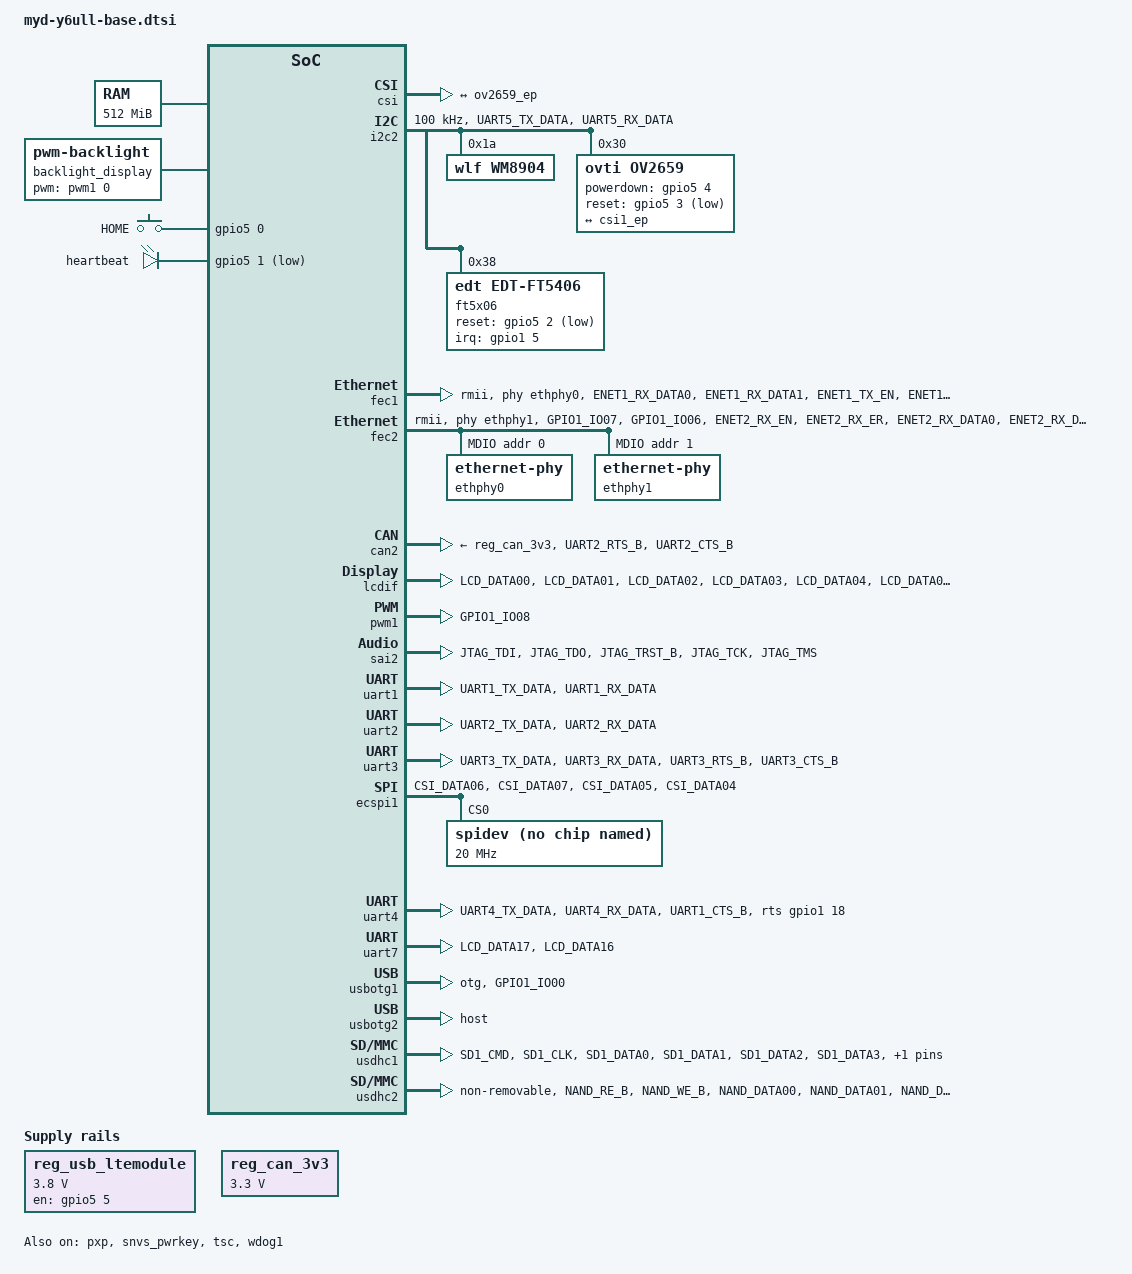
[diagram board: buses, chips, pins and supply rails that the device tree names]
// SPDX-License-Identifier: GPL-2.0
//
// MYiR MYD-Y6ULX board support (local copy for myir/myd-y6ull/)
//

#include <dt-bindings/gpio/gpio.h>
#include <dt-bindings/interrupt-controller/irq.h>
#include <dt-bindings/input/input.h>
#include "imx6ul-pinfunc.h"
#include "imx6ull-pinfunc.h"
#include "imx6ull-pinfunc-snvs.h"
/ {
	chosen {
		stdout-path = &uart1;
	};
	memory@80000000 {
		device_type = "memory";
		reg = <0x80000000 0x20000000>;
	};

	reserved-memory {
		#address-cells = <1>;
		#size-cells = <1>;
		ranges;

		linux,cma {
			compatible = "shared-dma-pool";
			reusable;
			size = <0xa000000>;
			linux,cma-default;
		};
	};
	usdhc2_pwrseq: usdhc2-pwrseq {
		compatible = "mmc-pwrseq-simple";
	};
	backlight_display: backlight-display {
		compatible = "pwm-backlight";
		pwms = <&pwm1 0 5000000 0>;
		brightness-levels = <0 4 8 16 32 64 128 255>;
		default-brightness-level = <6>;
		status = "okay";
	};
        pxp_v4l2 {
               compatible = "fsl,imx6ul-pxp-v4l2", "fsl,imx6sx-pxp-v4l2", "fsl,imx6sl-pxp-v4l2";
               status = "okay";
       };
	reg_usb_ltemodule: regulator-ltemodule {
		compatible = "regulator-fixed";
		regulator-name = "ltemodule-pwr";
		regulator-min-microvolt = <3800000>;
		regulator-max-microvolt = <3800000>;
		gpio = <&gpio5 5 GPIO_ACTIVE_HIGH>;
		enable-active-high;
		regulator-boot-on;
		regulator-always-on;
	};
	reg_can_3v3: regulator-can-3v3 {
		compatible = "regulator-fixed";
		regulator-name = "can-3v3";
		regulator-min-microvolt = <3300000>;
		regulator-max-microvolt = <3300000>;
		regulator-always-on;
	};
	gpio-keys {
		compatible = "gpio-keys";

		key-home {
			label = "HOME";
			gpios = <&gpio5 0 GPIO_ACTIVE_HIGH>;
			linux,code = <KEY_HOME>;
			gpio-key,wakeup;
		};
	};
	gpio-leds {
		compatible = "gpio-leds";

		heartbeat {
			label = "heartbeat";
			gpios = <&gpio5 1 GPIO_ACTIVE_LOW>;
			linux,default-trigger = "heartbeat";
			default-state = "off";
		};
	};
       sound-wm8904 {
               compatible = "fsl,imx-audio-wm8904";
               model = "wm8904-audio";
               audio-cpu = <&sai2>;
               audio-asrc = <&asrc>;
               audio-codec = <&wm8904>;
               audio-routing =
                       "Headphone Jack", "HPOUTL",
                       "Headphone Jack", "HPOUTR",
                       "IN2L", "Line In Jack",
                       "IN2R", "Line In Jack",
                       "AMIC", "MICBIAS",
                       "IN2L", "AMIC";
       };
};
&clks {
	assigned-clocks = <&clks IMX6UL_CLK_PLL4_AUDIO_DIV>;
	assigned-clock-rates = <786432000>;
};
&csi {
	status = "okay";

	port {
        	csi1_ep: endpoint {
            	remote-endpoint = <&ov2659_ep>;
        };
    };
};

&i2c2 {
	clock-frequency = <100000>;
	pinctrl-names = "default";
	pinctrl-0 = <&pinctrl_i2c2>;
	status = "okay";
       wm8904: codec@1a {

               compatible = "wlf,wm8904";
               reg = <0x1a>;
               clocks = <&clks IMX6UL_CLK_SAI2>;
               clock-names = "mclk";
       };
       ov2659: ov2659@30 {
               compatible = "ovti,ov2659";
               reg = <0x30>;
               pinctrl-names = "default";
               pinctrl-0 = <&pinctrl_csi1>;
               clocks = <&clks IMX6UL_CLK_CSI>;
               clock-names = "xvclk";
               powerdown-gpios = <&gpio5 4 GPIO_ACTIVE_HIGH>;
               reset-gpios = <&gpio5 3 GPIO_ACTIVE_LOW>;
               status = "okay";
               port {
                       ov2659_ep: endpoint {
                               remote-endpoint = <&csi1_ep>;
                               link-frequencies = /bits/ 64 <70000000>;
                       };
               };
       };

	ft5x06: ft5x06@38 {
		compatible = "edt,edt-ft5406", "edt,edt-ft5x06";
		reg = <0x38>;
		pinctrl-names = "default";                                                                                          
		pinctrl-0 = <&edt_ft5x06_pins>;    
		interrupt-parent = <&gpio1>;
		interrupts = <5 IRQ_TYPE_EDGE_FALLING>;
		reset-gpios = <&gpio5 2 GPIO_ACTIVE_LOW>;
		touchscreen-size-x = <800>;
		touchscreen-size-y = <480>;
	};
 
};
&fec1 {
	pinctrl-names = "default";
	pinctrl-0 = <&pinctrl_enet1>;
	phy-mode = "rmii";
	phy-handle = <&ethphy0>;
	phy-reset-gpios = <&gpio5 9 GPIO_ACTIVE_LOW>;
	phy-reset-duration = <26>;
	phy-reset-post-delay = <20>;
	status = "okay";
};
&fec2 {
	pinctrl-names = "default";
	pinctrl-0 = <&pinctrl_enet2>;
	phy-mode = "rmii";
	phy-handle = <&ethphy1>;
	phy-reset-gpios = <&gpio5 6 GPIO_ACTIVE_LOW>;
	phy-reset-duration = <26>;
	phy-reset-post-delay = <20>;
	status = "okay";

	mdio {
		#address-cells = <1>;
		#size-cells = <0>;

		ethphy0: ethernet-phy@0 {
			reg = <0>;
			micrel,led-mode = <1>;
		};

		ethphy1: ethernet-phy@1 {
			reg = <1>;
			micrel,led-mode = <1>;
		};
	};
};
&can2 {
	pinctrl-names = "default";
	pinctrl-0 = <&pinctrl_flexcan2>;
	xceiver-supply = <&reg_can_3v3>;
	status = "okay";
};
&lcdif {
	assigned-clocks = <&clks IMX6UL_CLK_LCDIF_PRE_SEL>;
	assigned-clock-parents = <&clks IMX6UL_CLK_PLL5_VIDEO_DIV>;
	pinctrl-names = "default";
	pinctrl-0 = <&pinctrl_lcdif_dat &pinctrl_lcdif_ctrl>;
	status = "okay";
	
	display = <&display0>;
	status = "okay";

	display0: display@0 {
		bits-per-pixel = <16>;
		bus-width = <16>;

		display-timings {
			native-mode = <&timing1>;


			/*4.3-inch*/
			timing0: timing0 {
				clock-frequency = <9200000>;
				hactive = <480>;
				vactive = <272>;
				hfront-porch = <8>;
				hback-porch = <4>;
				hsync-len = <41>;
				vback-porch = <2>;
				vfront-porch = <4>;
				vsync-len = <10>;
				hsync-active = <0>;
				vsync-active = <0>;
				de-active = <1>;
				pixelclk-active = <0>;
			};

			/*7.0-inch*/
			timing1: timing1 {
				clock-frequency = <33000000>;
				hactive = <800>;
				vactive = <480>;
				hfront-porch = <210>;
				hback-porch = <46>;
				hsync-len = <1>;
				vback-porch = <22>;
				vfront-porch = <23>;
				vsync-len = <20>;
		
				hsync-active = <0>;
				vsync-active = <0>;
				de-active = <1>;
				pixelclk-active = <0>;
		};

		};
	};
	
	
};
&pwm1 {
	pinctrl-names = "default";
	pinctrl-0 = <&pinctrl_pwm1>;
	status = "okay";
};
&pxp {
	status = "okay";
};

&sai2 {
       pinctrl-names = "default";
       pinctrl-0 = <&pinctrl_sai2>;
       assigned-clocks = <&clks IMX6UL_CLK_SAI2_SEL>,<&clks IMX6UL_CLK_SAI2>;
       assigned-clock-parents = <&clks IMX6UL_CLK_PLL4_AUDIO_DIV>;
       assigned-clock-rates = <0>, <12288000>;
       fsl,sai-mclk-direction-output;
       status = "okay";
};
&snvs_poweroff {
	status = "okay";
};

&snvs_pwrkey {
	status = "okay";
};
&tsc {
	status = "okay";
};
&uart1 {
	pinctrl-names = "default";
	pinctrl-0 = <&pinctrl_uart1>;
	status = "okay";
};
&uart2 {
	pinctrl-names = "default";
	pinctrl-0 = <&pinctrl_uart2>;
	uart-has-rtscts;
	status = "okay";
};
&uart3 {
	pinctrl-names = "default";
	pinctrl-0 = <&pinctrl_uart3>;
	status = "okay";
};
&ecspi1 {
	pinctrl-names = "default";
	pinctrl-0 = <&pinctrl_ecspi1>;
	fsl,spi-num-chipselects = <1>;
	#address-cells = <1>;
	#size-cells = <0>;
	status = "okay";
	spidev@0 {
		compatible = "rohm,dh2228fv";
		reg = <0>;
		spi-max-frequency = <20000000>;
	};
};
&uart4 {
	pinctrl-names = "default";
	pinctrl-0 = <&pinctrl_uart4>;
	rts-gpios = <&gpio1 18 GPIO_ACTIVE_HIGH>;
	status = "okay";
};
&uart7 {
	pinctrl-names = "default";
	pinctrl-0 = <&pinctrl_uart7>;
	status = "okay";
};
&usbotg1 {
	dr_mode = "otg";
	pinctrl-names = "default";
	pinctrl-0 = <&pinctrl_usb_otg1>;
        srp-disable;
        hnp-disable;
        adp-disable;
	status = "okay";
};
&usbotg2 {
	dr_mode = "host";
	status = "okay";
};
&usbphy2 {
	fsl,tx-d-cal = <5>;
};
&usdhc1 {
	pinctrl-names = "default", "state_100mhz", "state_200mhz";
	pinctrl-0 = <&pinctrl_usdhc1>;
	pinctrl-1 = <&pinctrl_usdhc1_100mhz>;
	pinctrl-2 = <&pinctrl_usdhc1_200mhz>;
	cd-gpios = <&gpio1 19 GPIO_ACTIVE_LOW>;

	keep-power-in-suspend;
	wakeup-source;
	status = "okay";
};
&usdhc2 {
	pinctrl-names = "default";
	pinctrl-0 = <&pinctrl_usdhc2>;
	non-removable;
	keep-power-in-suspend;
	wakeup-source;
	status = "okay";
};

&wdog1 {
	status = "okay";
};
&iomuxc_snvs {
	pinctrl-names = "default";
	pinctrl-0 = <&pinctrl_snvs_keys_leds>;
};
&iomuxc {
	pinctrl-names = "default";
	pinctrl-0 = <&pinctrl_hog_1>;
	myd-y6ulx {
		pinctrl_hog_1: hoggrp-1 {
			fsl,pins = <
				MX6UL_PAD_UART1_RTS_B__GPIO1_IO19 0x17059
				MX6UL_PAD_GPIO1_IO09__GPIO1_IO09 0x17059
				MX6UL_PAD_NAND_CE1_B__GPIO4_IO14 0x17059
				
			>;
		};
		pinctrl_snvs_keys_leds: snvs-keys-leds {
			fsl,pins = <
				MX6ULL_PAD_SNVS_TAMPER0__GPIO5_IO00 0x80000000
				MX6ULL_PAD_SNVS_TAMPER1__GPIO5_IO01 0x80000000
			>;
		};
		edt_ft5x06_pins: ft5x06 {
			fsl,pins = <
				MX6UL_PAD_GPIO1_IO05__GPIO1_IO05 0x1b0b0
				MX6UL_PAD_SNVS_TAMPER2__GPIO5_IO02 0x80000000
			>;
		};
		pinctrl_wifi: wifigrp {
			fsl,pins = <
				MX6UL_PAD_JTAG_MOD__GPIO1_IO10		0x17059 /* WiFi module power */
			>;
		};
               pinctrl_csi1: csi1grp {
                       fsl,pins = <
                               MX6UL_PAD_CSI_MCLK__CSI_MCLK            0x1b088
                               MX6UL_PAD_CSI_PIXCLK__CSI_PIXCLK        0x1b088
                               MX6UL_PAD_CSI_VSYNC__CSI_VSYNC          0x1b088
                               MX6UL_PAD_CSI_HSYNC__CSI_HSYNC          0x1b088
                               MX6UL_PAD_CSI_DATA00__CSI_DATA02        0x1b088
                               MX6UL_PAD_CSI_DATA01__CSI_DATA03        0x1b088
                               MX6UL_PAD_CSI_DATA02__CSI_DATA04        0x1b088
                               MX6UL_PAD_CSI_DATA03__CSI_DATA05        0x1b088
                               MX6UL_PAD_CSI_DATA04__CSI_DATA06        0x1b088
                               MX6UL_PAD_CSI_DATA05__CSI_DATA07        0x1b088
                               MX6UL_PAD_CSI_DATA06__CSI_DATA08        0x1b088
                               MX6UL_PAD_CSI_DATA07__CSI_DATA09        0x1b088
                               MX6UL_PAD_SNVS_TAMPER3__GPIO5_IO03  0x1b0b0
                               MX6UL_PAD_SNVS_TAMPER4__GPIO5_IO04  0x1b0b0
                       >;
               };

		pinctrl_enet1: enet1grp {
			fsl,pins = <
				MX6UL_PAD_ENET1_RX_DATA0__ENET1_RDATA00 0x1b0b0
				MX6UL_PAD_ENET1_RX_DATA1__ENET1_RDATA01 0x1b0b0
				MX6UL_PAD_ENET1_TX_EN__ENET1_TX_EN 0x1b0b0
				MX6UL_PAD_ENET1_TX_DATA0__ENET1_TDATA00 0x1b0b0
				MX6UL_PAD_ENET1_TX_DATA1__ENET1_TDATA01 0x1b0b0
				MX6UL_PAD_ENET1_TX_CLK__ENET1_REF_CLK1 0x4001b031
			>;
		};
		pinctrl_enet2: enet2grp {
			fsl,pins = <
				MX6UL_PAD_GPIO1_IO07__ENET2_MDC 0x1b0b0
				MX6UL_PAD_GPIO1_IO06__ENET2_MDIO 0x1b0b0
				MX6UL_PAD_ENET2_RX_EN__ENET2_RX_EN 0x1b0b0
				MX6UL_PAD_ENET2_RX_ER__ENET2_RX_ER 0x1b0b0
				MX6UL_PAD_ENET2_RX_DATA0__ENET2_RDATA00 0x1b0b0
				MX6UL_PAD_ENET2_RX_DATA1__ENET2_RDATA01 0x1b0b0
				MX6UL_PAD_ENET2_TX_EN__ENET2_TX_EN 0x1b0b0
				MX6UL_PAD_ENET2_TX_DATA0__ENET2_TDATA00 0x1b0b0
				MX6UL_PAD_ENET2_TX_DATA1__ENET2_TDATA01 0x1b0b0
				MX6UL_PAD_ENET2_TX_CLK__ENET2_REF_CLK2 0x4001b031
			>;
		};
		pinctrl_flexcan2: flexcan2grp {
			fsl,pins = <
				MX6UL_PAD_UART2_RTS_B__FLEXCAN2_RX 0x1b020
				MX6UL_PAD_UART2_CTS_B__FLEXCAN2_TX 0x1b020
			>;
		};
		pinctrl_i2c2: i2c2grp {
			fsl,pins = <
				MX6UL_PAD_UART5_TX_DATA__I2C2_SCL 0x4001b8b0
				MX6UL_PAD_UART5_RX_DATA__I2C2_SDA 0x4001b8b0
			>;
		};
		pinctrl_lcdif_dat: lcdifdatgrp {
			fsl,pins = <
				MX6UL_PAD_LCD_DATA00__LCDIF_DATA00 0x79
				MX6UL_PAD_LCD_DATA01__LCDIF_DATA01 0x79
				MX6UL_PAD_LCD_DATA02__LCDIF_DATA02 0x79
				MX6UL_PAD_LCD_DATA03__LCDIF_DATA03 0x79
				MX6UL_PAD_LCD_DATA04__LCDIF_DATA04 0x79
				MX6UL_PAD_LCD_DATA05__LCDIF_DATA05 0x79
				MX6UL_PAD_LCD_DATA06__LCDIF_DATA06 0x79
				MX6UL_PAD_LCD_DATA07__LCDIF_DATA07 0x79
				MX6UL_PAD_LCD_DATA08__LCDIF_DATA08 0x79
				MX6UL_PAD_LCD_DATA09__LCDIF_DATA09 0x79
				MX6UL_PAD_LCD_DATA10__LCDIF_DATA10 0x79
				MX6UL_PAD_LCD_DATA11__LCDIF_DATA11 0x79
				MX6UL_PAD_LCD_DATA12__LCDIF_DATA12 0x79
				MX6UL_PAD_LCD_DATA13__LCDIF_DATA13 0x79
				MX6UL_PAD_LCD_DATA14__LCDIF_DATA14 0x79
				MX6UL_PAD_LCD_DATA15__LCDIF_DATA15 0x79
			>;
		};

		pinctrl_lcdif_ctrl: lcdifctrlgrp {
			fsl,pins = <
				MX6UL_PAD_LCD_CLK__LCDIF_CLK 0x79
				MX6UL_PAD_LCD_ENABLE__LCDIF_ENABLE 0x79
				MX6UL_PAD_LCD_HSYNC__LCDIF_HSYNC 0x79
				MX6UL_PAD_LCD_VSYNC__LCDIF_VSYNC 0x79
				MX6UL_PAD_LCD_RESET__GPIO3_IO04 0x1b0b0
			>;
		};
               pinctrl_sai2: sai2grp {
                       fsl,pins = <
                               MX6UL_PAD_JTAG_TDI__SAI2_TX_BCLK        0x17088
                               MX6UL_PAD_JTAG_TDO__SAI2_TX_SYNC        0x17088
                               MX6UL_PAD_JTAG_TRST_B__SAI2_TX_DATA     0x11088
                               MX6UL_PAD_JTAG_TCK__SAI2_RX_DATA        0x11088
                               MX6UL_PAD_JTAG_TMS__SAI2_MCLK           0x17088
                       >;
               };
		pinctrl_pwm1: pwm1grp {
			fsl,pins = <
				MX6UL_PAD_GPIO1_IO08__PWM1_OUT 0x110b0
			>;
		};
		pinctrl_spi4: spi4grp {
			fsl,pins = <
				MX6UL_PAD_SNVS_TAMPER7__GPIO5_IO07 0x70a1
				MX6UL_PAD_SNVS_TAMPER8__GPIO5_IO08 0x80000000
			>;
		};
		pinctrl_tsc: tscgrp {
			fsl,pins = <
				MX6UL_PAD_GPIO1_IO01__GPIO1_IO01 0xb0
				MX6UL_PAD_GPIO1_IO02__GPIO1_IO02 0xb0
				MX6UL_PAD_GPIO1_IO03__GPIO1_IO03 0xb0
				MX6UL_PAD_GPIO1_IO04__GPIO1_IO04 0xb0
			>;
		};
		pinctrl_uart1: uart1grp {
			fsl,pins = <
				MX6UL_PAD_UART1_TX_DATA__UART1_DCE_TX 0x1b0b1
				MX6UL_PAD_UART1_RX_DATA__UART1_DCE_RX 0x1b0b1
			>;
		};
		pinctrl_uart2: uart2grp {
			fsl,pins = <
				MX6UL_PAD_UART2_TX_DATA__UART2_DCE_TX 0x1b0b1
				MX6UL_PAD_UART2_RX_DATA__UART2_DCE_RX 0x1b0b1
			>;
		};
		pinctrl_uart4: uart4grp {
			fsl,pins = <
				MX6UL_PAD_UART4_TX_DATA__UART4_DCE_TX 0x1b0b1
				MX6UL_PAD_UART4_RX_DATA__UART4_DCE_RX 0x1b0b1
				MX6UL_PAD_UART1_CTS_B__GPIO1_IO18 0x1b0b1
			>;
		};
		pinctrl_usb_otg1: usbotg1grp {
			fsl,pins = <
				MX6UL_PAD_GPIO1_IO00__ANATOP_OTG1_ID	0x17059
			>;
		};
		pinctrl_uart3: uart3grp {
			fsl,pins = <
				MX6UL_PAD_UART3_TX_DATA__UART3_DCE_TX 0x1b0b1
				MX6UL_PAD_UART3_RX_DATA__UART3_DCE_RX 0x1b0b1
				MX6UL_PAD_UART3_RTS_B__UART3_DCE_RTS 0x1b0b1
				MX6UL_PAD_UART3_CTS_B__UART3_DCE_CTS 0x1b0b1
			>;
		};
		pinctrl_uart7: uart7grp {
			fsl,pins = <
			MX6UL_PAD_LCD_DATA17__UART7_DCE_RX 0x000010B0
			MX6UL_PAD_LCD_DATA16__UART7_DCE_TX 0x000010B0
			>;
		};
		pinctrl_ecspi1: ecspi1grp {
			fsl,pins = <
				MX6UL_PAD_CSI_DATA06__ECSPI1_MOSI 0x17059
				MX6UL_PAD_CSI_DATA07__ECSPI1_MISO 0x17059
				MX6UL_PAD_CSI_DATA05__ECSPI1_SS0 0x17059
				MX6UL_PAD_CSI_DATA04__ECSPI1_SCLK 0x17059
				
			>;
		};
		pinctrl_usdhc1: usdhc1grp {
			fsl,pins = <
				MX6UL_PAD_SD1_CMD__USDHC1_CMD 0x17059
				MX6UL_PAD_SD1_CLK__USDHC1_CLK 0x10071
				MX6UL_PAD_SD1_DATA0__USDHC1_DATA0 0x17059
				MX6UL_PAD_SD1_DATA1__USDHC1_DATA1 0x17059
				MX6UL_PAD_SD1_DATA2__USDHC1_DATA2 0x17059
				MX6UL_PAD_SD1_DATA3__USDHC1_DATA3 0x17059
			>;
		};

		pinctrl_usdhc1_100mhz: usdhc1grp100mhz {
			fsl,pins = <
				MX6UL_PAD_SD1_CMD__USDHC1_CMD 0x170b9
				MX6UL_PAD_SD1_CLK__USDHC1_CLK 0x100b9
				MX6UL_PAD_SD1_DATA0__USDHC1_DATA0 0x170b9
				MX6UL_PAD_SD1_DATA1__USDHC1_DATA1 0x170b9
				MX6UL_PAD_SD1_DATA2__USDHC1_DATA2 0x170b9
				MX6UL_PAD_SD1_DATA3__USDHC1_DATA3 0x170b9
			>;
		};

		pinctrl_usdhc1_200mhz: usdhc1grp200mhz {
			fsl,pins = <
				MX6UL_PAD_SD1_CMD__USDHC1_CMD 0x170f9
				MX6UL_PAD_SD1_CLK__USDHC1_CLK 0x100f9
				MX6UL_PAD_SD1_DATA0__USDHC1_DATA0 0x170f9
				MX6UL_PAD_SD1_DATA1__USDHC1_DATA1 0x170f9
				MX6UL_PAD_SD1_DATA2__USDHC1_DATA2 0x170f9
				MX6UL_PAD_SD1_DATA3__USDHC1_DATA3 0x170f9
			>;
		};
		pinctrl_usdhc2: usdhc2grp {
			fsl,pins = <
				MX6UL_PAD_NAND_RE_B__USDHC2_CLK     0x17059
				MX6UL_PAD_NAND_WE_B__USDHC2_CMD     0x17059
				MX6UL_PAD_NAND_DATA00__USDHC2_DATA0 0x17059
				MX6UL_PAD_NAND_DATA01__USDHC2_DATA1 0x17059
				MX6UL_PAD_NAND_DATA02__USDHC2_DATA2 0x17059
				MX6UL_PAD_NAND_DATA03__USDHC2_DATA3 0x17059
			>;
		};
		pinctrl_usdhc2_8bit: usdhc2grp-8bit {
			fsl,pins = <
				MX6UL_PAD_NAND_RE_B__USDHC2_CLK 0x10069
				MX6UL_PAD_NAND_WE_B__USDHC2_CMD 0x17059
				MX6UL_PAD_NAND_DATA00__USDHC2_DATA0 0x17059
				MX6UL_PAD_NAND_DATA01__USDHC2_DATA1 0x17059
				MX6UL_PAD_NAND_DATA02__USDHC2_DATA2 0x17059
				MX6UL_PAD_NAND_DATA03__USDHC2_DATA3 0x17059
				MX6UL_PAD_NAND_DATA04__USDHC2_DATA4 0x17059
				MX6UL_PAD_NAND_DATA05__USDHC2_DATA5 0x17059
				MX6UL_PAD_NAND_DATA06__USDHC2_DATA6 0x17059
				MX6UL_PAD_NAND_DATA07__USDHC2_DATA7 0x17059
			>;
		};

		pinctrl_usdhc2_8bit_100mhz: usdhc2grp-8bit-100mhz {
			fsl,pins = <
				MX6UL_PAD_NAND_RE_B__USDHC2_CLK 0x100b9
				MX6UL_PAD_NAND_WE_B__USDHC2_CMD 0x170b9
				MX6UL_PAD_NAND_DATA00__USDHC2_DATA0 0x170b9
				MX6UL_PAD_NAND_DATA01__USDHC2_DATA1 0x170b9
				MX6UL_PAD_NAND_DATA02__USDHC2_DATA2 0x170b9
				MX6UL_PAD_NAND_DATA03__USDHC2_DATA3 0x170b9
				MX6UL_PAD_NAND_DATA04__USDHC2_DATA4 0x170b9
				MX6UL_PAD_NAND_DATA05__USDHC2_DATA5 0x170b9
				MX6UL_PAD_NAND_DATA06__USDHC2_DATA6 0x170b9
				MX6UL_PAD_NAND_DATA07__USDHC2_DATA7 0x170b9
			>;
		};

		pinctrl_usdhc2_8bit_200mhz: usdhc2grp-8bit-200mhz {
			fsl,pins = <
				MX6UL_PAD_NAND_RE_B__USDHC2_CLK 0x100f9
				MX6UL_PAD_NAND_WE_B__USDHC2_CMD 0x170f9
				MX6UL_PAD_NAND_DATA00__USDHC2_DATA0 0x170f9
				MX6UL_PAD_NAND_DATA01__USDHC2_DATA1 0x170f9
				MX6UL_PAD_NAND_DATA02__USDHC2_DATA2 0x170f9
				MX6UL_PAD_NAND_DATA03__USDHC2_DATA3 0x170f9
				MX6UL_PAD_NAND_DATA04__USDHC2_DATA4 0x170f9
				MX6UL_PAD_NAND_DATA05__USDHC2_DATA5 0x170f9
				MX6UL_PAD_NAND_DATA06__USDHC2_DATA6 0x170f9
				MX6UL_PAD_NAND_DATA07__USDHC2_DATA7 0x170f9
			>;
		};

		pinctrl_usdhc2_alt: usdhc2grp_alt {
			fsl,pins = <
				MX6UL_PAD_LCD_DATA18__USDHC2_CMD  0x17051
				MX6UL_PAD_LCD_DATA19__USDHC2_CLK  0x17051
				MX6UL_PAD_LCD_DATA20__USDHC2_DATA0  0x17051
				MX6UL_PAD_LCD_DATA21__USDHC2_DATA1  0x17051
				MX6UL_PAD_LCD_DATA22__USDHC2_DATA2  0x17051
				MX6UL_PAD_LCD_DATA23__USDHC2_DATA3  0x17051
			>;
		};

		/* GPMI NAND: CE1 is GPIO in hoggrp-1; use fsl,max-nand-cs on &gpmi */
		pinctrl_gpmi_nand_1: gpmi-nand-1 {
			fsl,pins = <
				MX6UL_PAD_NAND_CLE__RAWNAND_CLE         0xb0b1
				MX6UL_PAD_NAND_ALE__RAWNAND_ALE         0xb0b1
				MX6UL_PAD_NAND_WP_B__RAWNAND_WP_B       0xb0b1
				MX6UL_PAD_NAND_READY_B__RAWNAND_READY_B 0xb000
				MX6UL_PAD_NAND_CE0_B__RAWNAND_CE0_B     0xb0b1
				MX6UL_PAD_NAND_RE_B__RAWNAND_RE_B       0xb0b1
				MX6UL_PAD_NAND_WE_B__RAWNAND_WE_B       0xb0b1
				MX6UL_PAD_NAND_DATA00__RAWNAND_DATA00   0xb0b1
				MX6UL_PAD_NAND_DATA01__RAWNAND_DATA01   0xb0b1
				MX6UL_PAD_NAND_DATA02__RAWNAND_DATA02   0xb0b1
				MX6UL_PAD_NAND_DATA03__RAWNAND_DATA03   0xb0b1
				MX6UL_PAD_NAND_DATA04__RAWNAND_DATA04   0xb0b1
				MX6UL_PAD_NAND_DATA05__RAWNAND_DATA05   0xb0b1
				MX6UL_PAD_NAND_DATA06__RAWNAND_DATA06   0xb0b1
				MX6UL_PAD_NAND_DATA07__RAWNAND_DATA07   0xb0b1
				MX6UL_PAD_NAND_DQS__RAWNAND_DQS         0xb0b1
			>;
		};
	};
};
